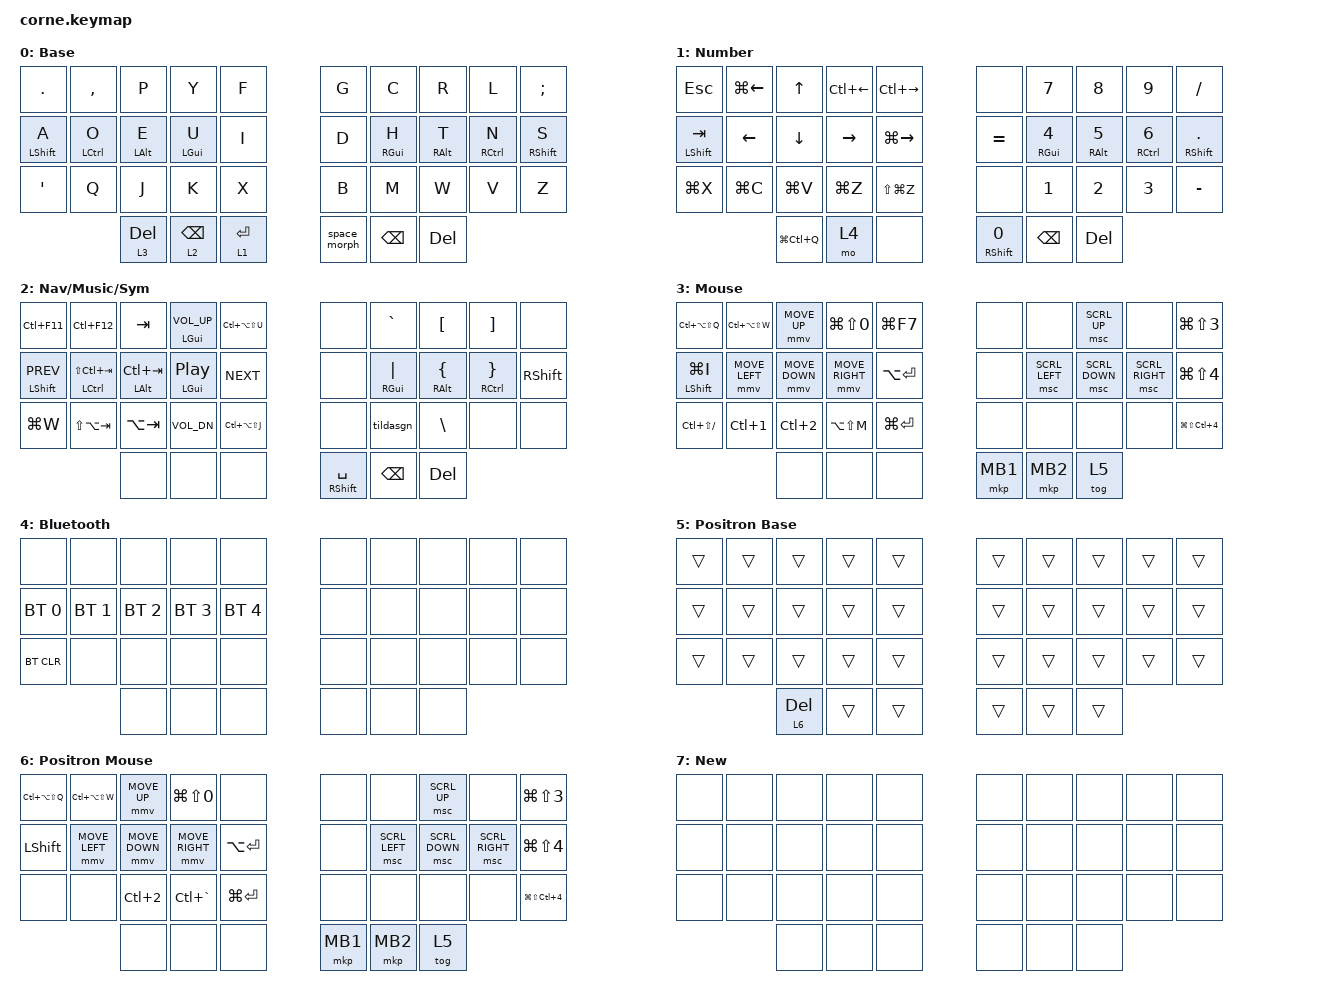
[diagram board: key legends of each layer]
/*
 * Copyright (c) 2020 The ZMK Contributors
 *
 * SPDX-License-Identifier: MIT
 */


#define ZMK_POINTING_DEFAULT_MOVE_VAL 1500  // default mouse speed: 600
#define ZMK_POINTING_DEFAULT_SCRL_VAL 20    // default scroll speed: 10

#include <behaviors.dtsi>
#include <dt-bindings/zmk/keys.h>
#include <dt-bindings/zmk/bt.h>            /* bluetooth */
#include <dt-bindings/zmk/pointing.h>      /* mouse emulation */

// Corne 5-column layout key indices
#define KEYS_L 0 1 2 3 4 10 11 12 13 14 20 21 22 23 24 30 31 32 // Left-hand keys + Left thumbs
#define KEYS_R 5 6 7 8 9 15 16 17 18 19 25 26 27 28 29 33 34 35 // Right-hand keys + Right thumbs
#define THUMBS 30 31 32 33 34 35                                // Thumbs

#define AS(keycode) &as LS(keycode) keycode

/ {
    chosen {
        zmk,physical-layout = &foostan_corne_5col_layout;
    };

    macros {
        pos_console: pos_console {
            compatible = "zmk,behavior-macro";
            #binding-cells = <0>;
            bindings = <&kp LG(K)>, <&kp F>;
        };
    };

    behaviors {
        ss: space-shift {
            compatible = "zmk,behavior-hold-tap";
            #binding-cells = <2>;
            flavor = "balanced";
            tapping-term-ms = <220>;
            bindings = <&kp>, <&kp>;
            hold-trigger-on-release;
        };
        space_morph: space_morph {
            compatible = "zmk,behavior-mod-morph";
            #binding-cells = <0>;
            bindings = <&ss RSHIFT SPACE>, <&kp SPACE>;
            mods = <MOD_LSFT>;
        };
        lft: left-thumbs {
            compatible = "zmk,behavior-hold-tap";
            #binding-cells = <2>;
            flavor = "balanced";
            tapping-term-ms = <200>;
            quick-tap-ms = <175>;
            bindings = <&mo>, <&kp>;
            hold-trigger-on-release;
        };
        hml: home-row-mod-left {
            compatible = "zmk,behavior-hold-tap";
            #binding-cells = <2>;
            flavor = "balanced";
            require-prior-idle-ms = <75>;
            tapping-term-ms = <200>;
            quick-tap-ms = <175>;
            bindings = <&kp>, <&kp>;
            hold-trigger-key-positions = <KEYS_R THUMBS>;
            hold-trigger-on-release;
        };
        hmr: home-row-mod-right {
            compatible = "zmk,behavior-hold-tap";
            #binding-cells = <2>;
            flavor = "balanced";
            require-prior-idle-ms = <75>;
            tapping-term-ms = <200>;
            quick-tap-ms = <175>;
            bindings = <&kp>, <&kp>;
            hold-trigger-key-positions = <KEYS_L THUMBS>;
            hold-trigger-on-release;
        };
        hm: home-row-mod {
            compatible = "zmk,behavior-hold-tap";
            #binding-cells = <2>;
            flavor = "balanced";
            require-prior-idle-ms = <75>;
            tapping-term-ms = <200>;
            quick-tap-ms = <175>;
            bindings = <&kp>, <&kp>;
            hold-trigger-on-release;
        };
        hms: home-row-mod-shift {
            compatible = "zmk,behavior-hold-tap";
            #binding-cells = <2>;
            flavor = "balanced";
            require-prior-idle-ms = <50>;
            tapping-term-ms = <200>;
            quick-tap-ms = <175>;
            bindings = <&kp>, <&kp>;
            hold-trigger-on-release;
        };
        mt_tap: mod_tap_tap_preffered {
            compatible = "zmk,behavior-hold-tap";
            #binding-cells = <2>;
            flavor = "tap-preferred";
            tapping-term-ms = <200>;
            quick-tap-ms = <175>;
            bindings = <&kp>, <&kp>;
        };
        tildasgn: tilde-assign {
            compatible = "zmk,behavior-mod-morph";
            #binding-cells = <0>;
            bindings = <&kp TILDE>, <&kp LA(MINUS)>;
            mods = <(MOD_LSFT)>;
        };
    };

keymap {
    compatible = "zmk,keymap";
    default_layer {
// -----------------------------------------------------------------------------------------
// |  .> |  ,< |  P  |  Y  |  F  |     |  G  |  C   |  R   |  L  | ;: |
// |  A  |  O  |  E  |  U  |  I  |     |  D  |  H   |  T   |  N  | S  | 
// |  '" |  Q  |  J  |  K  |  X  |     |  B  |  M   |  W   |  V  | Z  |
//             |  L3 |  L2 | ENT |     | SPC | BSPC |  DEL |
        display-name = "Base";
        bindings = <
   &kp DOT        &kp COMMA      &kp P         &kp Y        &kp F         &kp G          &kp C         &kp R          &kp L           &kp SEMI
   &hms LSHIFT A  &hml LCTRL O   &hml LALT E   &hml LGUI U  &kp I         &kp D          &hmr RGUI H   &hmr RALT T    &hmr RCTRL N    &hms RSHIFT S
   &kp SQT        &kp Q          &kp J         &kp K        &kp X         &kp B          &kp M         &kp W          &kp V           &kp Z
                                 &lft 3 DEL    &lft 2 BSPC  &lft 1 RET    &space_morph   &kp BSPC      &kp DEL
        >;
    };

    number_layer1 {
// -----------------------------------------------------------------------------------------
// | ESC | lLFT | UP   | Pdsk | Ndsk |      |    |  7&  |  8* | 9( | /? |
// | TAB | LFT  | DOWN | RGT  | lRGT |      | =+ |  4$  |  5% | 6^ | .  |
// | cut | copy | pst  | undo | redo |      |    |  1!  |  2@ | 3# | -_ |
//              | lock |  L4  |      |      | 0) | BSPC | DEL |
        display-name = "Number";
        bindings = <
   &kp ESCAPE      &kp LG(LEFT)  &kp UP        &kp LC(LEFT) &kp LC(RIGHT)      &none               &kp N7        &kp N8        &kp N9          &kp SLASH
   &hms LSHIFT TAB &kp LEFT      &kp DOWN      &kp RIGHT    &kp LG(RIGHT)      &kp EQUAL           &hm RGUI N4   &hm RALT N5   &hm RCTRL N6    &hms RSHIFT DOT
   &kp LG(X)       &kp LG(C)     &kp LG(V)     &kp LG(Z)    &kp LS(LG(Z))      &none               &kp N1        &kp N2        &kp N3          &kp MINUS
                                 &kp LG(LC(Q)) &mo 4        &none              &mt_tap RSHIFT N0   &kp BSPC      &kp DEL
        >;
    };

    sym_nav_mus_layer2 {
// -----------------------------------------------------------------------------------------
// | R Ptab | R Ntab | TAB  | volU | volU   |        |     |  `   |  [  |  ]  |    |
// | musPrv | Ptab   | Ntab | PLAY | musNxt |        |     | PIPE |  {  |  }  |    |
// | close  | Pwin   | Nwin | volD | volD   |        |     |  ~   |  \  |     |    |    
//                   |      |      |        |        | SPC | BSPC | DEL |
        display-name = "Nav/Music/Sym";
        bindings = <
   &kp LC(F11)        &kp LC(F12)             &kp TAB             &mt LGUI C_VOL_UP       &kp LC(LA(LS(U)))    &none     &kp GRAVE       &kp LBKT        &kp RBKT          &none
   &hms LSHIFT C_PREV &hm LCTRL LS(LC(TAB))   &hm LALT LC(TAB)    &hm LGUI C_PLAY_PAUSE   &kp C_NEXT           &none     &hm RGUI PIPE   &hm RALT LBRC   &hm RCTRL RBRC    &kp RSHIFT
   &kp LG(W)          &kp LS(LA(TAB))         &kp LA(TAB)         &kp C_VOL_DN            &kp LC(LA(LS(J)))    &none     &tildasgn       &kp BSLH        &none             &none
                                 &none        &none               &none                   &mt RSHIFT SPACE     &kp BSPC  &kp DEL
         >;
    };

    mouse_layer3 {
// -----------------------------------------------------------------------------------------
// | brghtD   | brghtU   |  UP      | rstrt R | add col  |        |      |       |    sUP    |        | SSall |
// | R indent | LEFT     | DOWN     | RIGHT   | run code |        |      | sLEFT |   sDOWN   | sRIGHT | SSsel |
// | R reflow | R source | R consol | R term  | adv code |        |      |       |           |        | SScpy |
//                       |          |         |          |        | Lclk | Rclk  | tog posit |
        display-name = "Mouse";
        bindings = <
   &kp LC(LA(LS(Q)))  &kp LC(LA(LS(W)))  &mmv MOVE_UP   &kp LG(LS(N0))  &kp LG(F7)    &none    &none          &msc SCRL_UP   &none           &kp LG(LS(N3))
   &hms LSHIFT LG(I)  &mmv MOVE_LEFT     &mmv MOVE_DOWN &mmv MOVE_RIGHT &kp LA(RET)   &none    &msc SCRL_LEFT &msc SCRL_DOWN &msc SCRL_RIGHT &kp LG(LS(N4))
   &kp LC(LS(SLASH))  &kp LC(N1)         &kp LC(N2)     &kp LA(LS(M))   &kp LG(RET)   &none    &none          &none          &none           &kp LG(LS(LC(N4)))
                                         &none          &none           &none         &mkp MB1 &mkp MB2       &tog 5
        >;
    };

    bluetooth_layer4 {
// -----------------------------------------------------------------------------------------
// |       |     |     |     |     |     |     |     |     |     |     |
// | BT1   | BT2 | BT3 | BT4 | BT5 |     |     |     |     |     |     |
// | BTCLR |     |     |     |     |     |     |     |     |     |     |
//               |     |     |     |     |     |     |     |
        display-name = "Bluetooth";
        bindings = <
   &none         &none         &none         &none         &none            &none  &none  &none  &none  &none
   &bt BT_SEL 0  &bt BT_SEL 1  &bt BT_SEL 2  &bt BT_SEL 3  &bt BT_SEL 4     &none  &none  &none  &none  &none
   &bt BT_CLR    &none         &none         &none         &none            &none  &none  &none  &none  &none
                               &none         &none         &none            &none  &none  &none
        >;
    };

    positron_base_layer5 {
// INTERCEPTOR LAYER: Transparent except for rerouting the left thumb to Layer 6
// -----------------------------------------------------------------------------------------
        display-name = "Positron Base";
        bindings = <
   &trans  &trans  &trans       &trans  &trans        &trans  &trans  &trans  &trans  &trans
   &trans  &trans  &trans       &trans  &trans        &trans  &trans  &trans  &trans  &trans
   &trans  &trans  &trans       &trans  &trans        &trans  &trans  &trans  &trans  &trans
                   &lft 6 DEL   &trans  &trans        &trans  &trans  &trans
        >;
    };

    positron_mouse_layer6 {
// ALTERNATE MOUSE LAYER: Contains the positron-specific shortcuts
// -----------------------------------------------------------------------------------------
// | brghtD   | brghtU   |  UP      | rstrt R |          |           |      |       |  sUP  |        | SSall |
// |          | LEFT     | DOWN     | RIGHT   | run code |           |      | sLEFT | sDOWN | sRIGHT | SSsel |
// |          |          | P consol | P term  | adv code |           |      |       |       |        | SScpy |
//                       |          |         |          |           | Lclk | Rclk  | togg5 |
        display-name = "Positron Mouse";
        bindings = <
   &kp LC(LA(LS(Q)))  &kp LC(LA(LS(W)))  &mmv MOVE_UP   &kp LG(LS(N0))  &none         &none     &none          &msc SCRL_UP   &none           &kp LG(LS(N3))
   &kp LSHIFT         &mmv MOVE_LEFT     &mmv MOVE_DOWN &mmv MOVE_RIGHT &kp LA(RET)   &none     &msc SCRL_LEFT &msc SCRL_DOWN &msc SCRL_RIGHT &kp LG(LS(N4))
   &none              &none              &kp LC(N2)     &kp LC(GRAVE)   &kp LG(RET)   &none     &none          &none          &none           &kp LG(LS(LC(N4)))
                                         &none          &none           &none         &mkp MB1  &mkp MB2       &tog 5
        >;
    };

    new_layer {
// -----------------------------------------------------------------------------------------
// |    |     |     |     |     |             |     |     |     |     |     |
// |    |     |     |     |     |             |     |     |     |     |     |
// |    |     |     |     |     |             |     |     |     |     |     |
//            |     |     |     |             |     |     |     |
        display-name = "New";
        bindings = <
   &none   &none   &none    &none    &none              &none    &none    &none    &none    &none
   &none   &none   &none    &none    &none              &none    &none    &none    &none    &none
   &none   &none   &none    &none    &none              &none    &none    &none    &none    &none
                   &none    &none    &none              &none    &none    &none
        >;
    };
};
};
